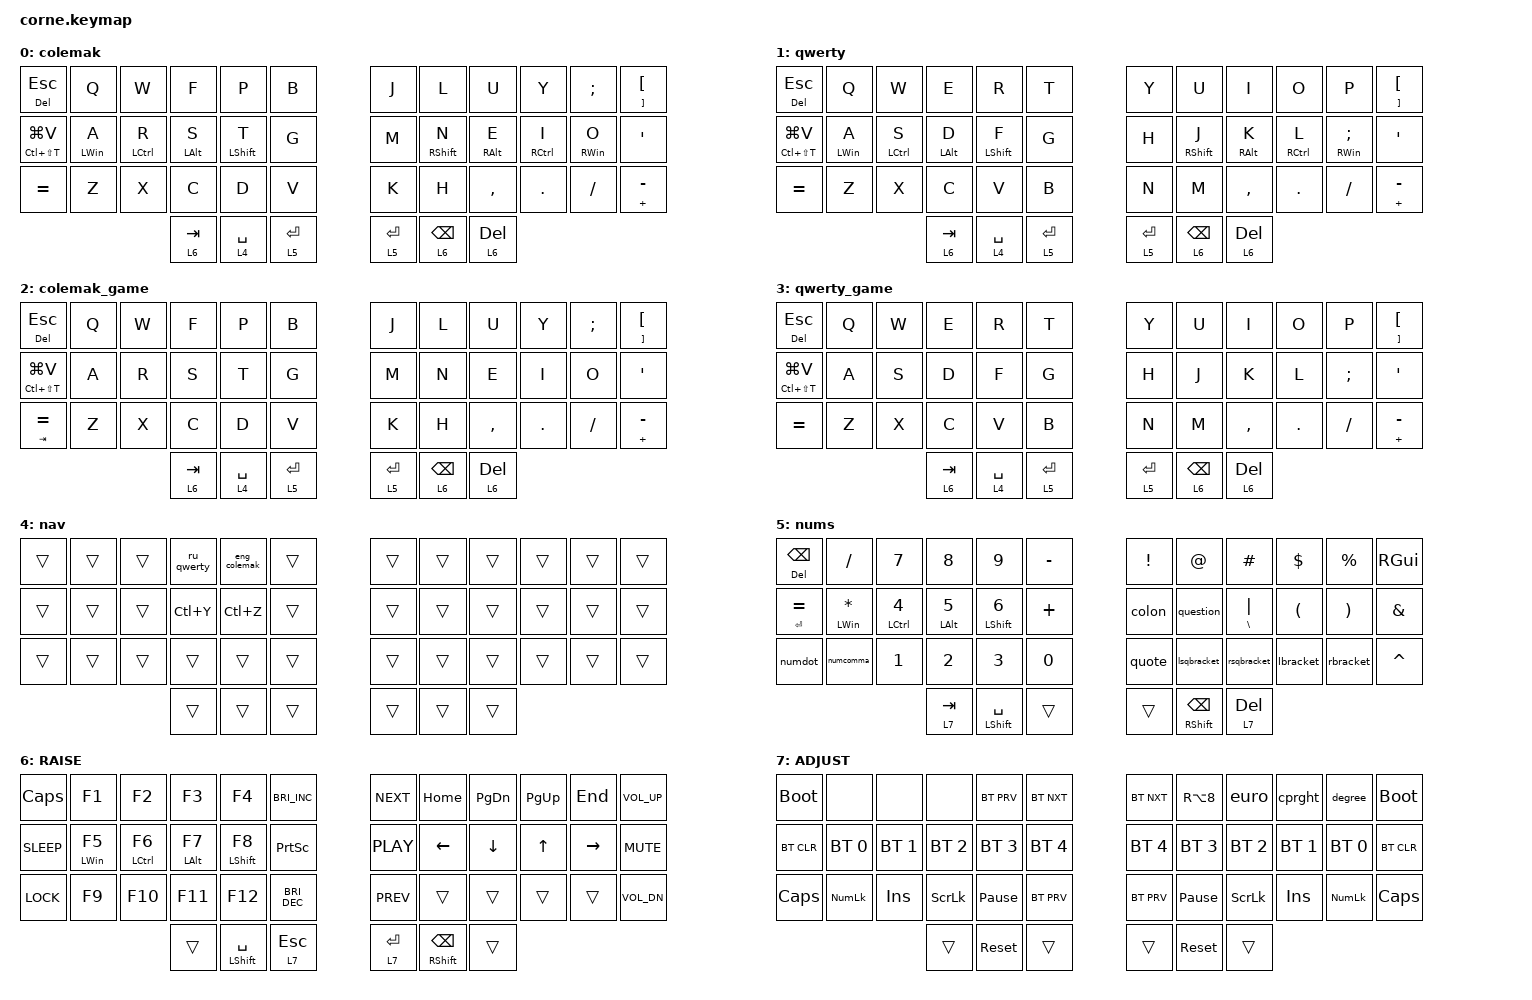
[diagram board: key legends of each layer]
/*
 * Copyright (c) 2020 The ZMK Contributors
 *
 * SPDX-License-Identifier: MIT
 */

#include <behaviors.dtsi>
#include <dt-bindings/zmk/bt.h>
#include <dt-bindings/zmk/keys.h>

#define BASE   0
#define LOWER  1
#define RAISE  2
#define ADJUST 3

&lt { quick_tap_ms = <220>; };

&mt { quick_tap_ms = <220>; };

/ {
    macros {
        numdot: numdot {
            label = "ZM_numdot";
            compatible = "zmk,behavior-macro";
            #binding-cells = <0>;
            wait-ms = <40>;
            tap-ms = <40>;
            bindings =
                <&macro_press>,
                <&kp LALT>,
                <&macro_tap>,
                <&kp KP_N4 &kp KP_N6>,
                <&macro_release>,
                <&kp LALT>;
        };

        grtsgn: grtsgn {
            label = "ZM_grtsgn";
            compatible = "zmk,behavior-macro";
            #binding-cells = <0>;
            wait-ms = <40>;
            tap-ms = <40>;
            bindings =
                <&macro_press>,
                <&kp LALT>,
                <&macro_tap>,
                <&kp KP_N6 &kp KP_N2>,
                <&macro_release>,
                <&kp LALT>;
        };

        cprght: cprght {
            label = "ZM_cprght";
            compatible = "zmk,behavior-macro";
            #binding-cells = <0>;
            wait-ms = <40>;
            tap-ms = <40>;
            bindings =
                <&macro_press>,
                <&kp LALT>,
                <&macro_tap>,
                <&kp KP_N0 &kp KP_N1 &kp KP_N6 &kp KP_N9>,
                <&macro_release>,
                <&kp LALT>;
        };

        degree: degree {
            label = "ZM_degree";
            compatible = "zmk,behavior-macro";
            #binding-cells = <0>;
            wait-ms = <40>;
            tap-ms = <40>;
            bindings =
                <&macro_press>,
                <&kp LALT>,
                <&macro_tap>,
                <&kp KP_N0 &kp KP_N1 &kp KP_N7 &kp KP_N6>,
                <&macro_release>,
                <&kp LALT>;
        };

        quote: quote {
            label = "ZM_quote";
            compatible = "zmk,behavior-macro";
            #binding-cells = <0>;
            wait-ms = <40>;
            tap-ms = <40>;
            bindings =
                <&macro_press>,
                <&kp LALT>,
                <&macro_tap>,
                <&kp KP_N3 &kp KP_N4>,
                <&macro_release>,
                <&kp LALT>;
        };

        euro: euro {
            label = "ZM_euro";
            compatible = "zmk,behavior-macro";
            #binding-cells = <0>;
            wait-ms = <40>;
            tap-ms = <40>;
            bindings =
                <&macro_press>,
                <&kp LALT>,
                <&macro_tap>,
                <&kp KP_N0 &kp KP_N1 &kp KP_N2 &kp KP_N8>,
                <&macro_release>,
                <&kp LALT>;
        };

        numcomma: numcomma {
            label = "ZM_numcomma";
            compatible = "zmk,behavior-macro";
            #binding-cells = <0>;
            wait-ms = <40>;
            tap-ms = <40>;
            bindings =
                <&macro_press>,
                <&kp LALT>,
                <&macro_tap>,
                <&kp KP_N4 &kp KP_N4>,
                <&macro_release>,
                <&kp LALT>;
        };

        lguillement: lguillement {
            label = "ZM_lguillement";
            compatible = "zmk,behavior-macro";
            #binding-cells = <0>;
            wait-ms = <40>;
            tap-ms = <40>;
            bindings =
                <&macro_press>,
                <&kp LALT>,
                <&macro_tap>,
                <&kp KP_N0 &kp KP_N1 &kp KP_N7 &kp KP_N1>,
                <&macro_release>,
                <&kp LALT>;
        };

        rguillement: rguillement {
            label = "ZM_rguillement";
            compatible = "zmk,behavior-macro";
            #binding-cells = <0>;
            wait-ms = <40>;
            tap-ms = <40>;
            bindings =
                <&macro_press>,
                <&kp LALT>,
                <&macro_tap>,
                <&kp KP_N0 &kp KP_N1 &kp KP_N8 &kp KP_N7>,
                <&macro_release>,
                <&kp LALT>;
        };

        lbracket: lbracket {
            label = "ZM_lbracket";
            compatible = "zmk,behavior-macro";
            #binding-cells = <0>;
            wait-ms = <40>;
            tap-ms = <40>;
            bindings =
                <&macro_press>,
                <&kp LALT>,
                <&macro_tap>,
                <&kp KP_N1 &kp KP_N2 &kp KP_N3>,
                <&macro_release>,
                <&kp LALT>;
        };

        rbracket: rbracket {
            label = "ZM_rbracket";
            compatible = "zmk,behavior-macro";
            #binding-cells = <0>;
            wait-ms = <40>;
            tap-ms = <40>;
            bindings =
                <&macro_press>,
                <&kp LALT>,
                <&macro_tap>,
                <&kp KP_N1 &kp KP_N2 &kp KP_N5>,
                <&macro_release>,
                <&kp LALT>;
        };

        colon: colon {
            label = "ZM_colon";
            compatible = "zmk,behavior-macro";
            #binding-cells = <0>;
            wait-ms = <40>;
            tap-ms = <40>;
            bindings =
                <&macro_press>,
                <&kp LALT>,
                <&macro_tap>,
                <&kp KP_N5 &kp KP_N8>,
                <&macro_release>,
                <&kp LALT>;
        };

        semicolon: semicolon {
            label = "ZM_semicolon";
            compatible = "zmk,behavior-macro";
            #binding-cells = <0>;
            wait-ms = <40>;
            tap-ms = <40>;
            bindings =
                <&macro_press>,
                <&kp LALT>,
                <&macro_tap>,
                <&kp KP_N5 &kp KP_N9>,
                <&macro_release>,
                <&kp LALT>;
        };

        question: question {
            label = "ZM_question";
            compatible = "zmk,behavior-macro";
            #binding-cells = <0>;
            wait-ms = <40>;
            tap-ms = <40>;
            bindings =
                <&macro_press>,
                <&kp LALT>,
                <&macro_tap>,
                <&kp KP_N6 &kp KP_N3>,
                <&macro_release>,
                <&kp LALT>;
        };

        lsqbracket: lsqbracket {
            label = "ZM_lsqbracket";
            compatible = "zmk,behavior-macro";
            #binding-cells = <0>;
            wait-ms = <40>;
            tap-ms = <40>;
            bindings =
                <&macro_press>,
                <&kp LALT>,
                <&macro_tap>,
                <&kp KP_N9 &kp KP_N1>,
                <&macro_release>,
                <&kp LALT>;
        };

        rsqbracket: rsqbracket {
            label = "ZM_rsqbracket";
            compatible = "zmk,behavior-macro";
            #binding-cells = <0>;
            wait-ms = <40>;
            tap-ms = <40>;
            bindings =
                <&macro_press>,
                <&kp LALT>,
                <&macro_tap>,
                <&kp KP_N9 &kp KP_N3>,
                <&macro_release>,
                <&kp LALT>;
        };

        eng_colemak: eng_colemak {
            compatible = "zmk,behavior-macro";
            #binding-cells = <0>;
            bindings =
                <&macro_press>,
                <&kp LEFT_ALT &kp LEFT_SHIFT>,
                <&macro_tap>,
                <&kp N0 &to 0>,
                <&macro_release>,
                <&kp LEFT_ALT &kp LSHIFT>;

            label = "ENG_COLEMAK";
        };

        ru_qwerty: ru_qwerty {
            compatible = "zmk,behavior-macro";
            #binding-cells = <0>;
            bindings =
                <&macro_press>,
                <&kp LEFT_ALT &kp LEFT_SHIFT>,
                <&macro_tap>,
                <&kp NUMBER_1 &to 1>,
                <&macro_release>,
                <&kp LEFT_ALT &kp LSHIFT>;

            label = "RU_QWERTY";
        };
    };
};

/ {
    combos {
        compatible = "zmk,combos";

        combo_grave {
            timeout-ms = <50>;
            key-positions = <4 5>;
            bindings = <&kp GRAVE>;
        };

        combo_esc_right {
            timeout-ms = <50>;
            key-positions = <19 31>;
            bindings = <&kp ESC>;
        };

        combo_comma {
            timeout-ms = <50>;
            key-positions = <15 14>;
            bindings = <&numcomma>;
        };

        combo_dot {
            timeout-ms = <50>;
            key-positions = <20 21>;
            bindings = <&numdot>;
        };

        combo_esc_left {
            timeout-ms = <50>;
            key-positions = <16 28>;
            bindings = <&kp ESC>;
        };

        combo_del {
            timeout-ms = <50>;
            key-positions = <16 17>;
            bindings = <&kp DEL>;
        };

        combo_colon {
            timeout-ms = <50>;
            key-positions = <20 19>;
            bindings = <&colon>;
        };

        combo_semicolon {
            timeout-ms = <50>;
            key-positions = <31 32>;
            bindings = <&semicolon>;
        };

        combo_numcomma {
            timeout-ms = <50>;
            key-positions = <32 33>;
            bindings = <&numcomma>;
        };

        combo_copy {
            timeout-ms = <50>;
            key-positions = <27 28>;
            bindings = <&kp LC(C)>;
        };

        combo_cut {
            timeout-ms = <50>;
            key-positions = <3 4>;
            bindings = <&kp LC(X)>;
        };

        combo_paste {
            timeout-ms = <50>;
            key-positions = <15 16>;
            bindings = <&kp LC(V)>;
        };

        to_colemak_game {
            bindings = <&to 2>;
            key-positions = <12 23>;
        };

        to_qwerty_game {
            bindings = <&to 3>;
            key-positions = <24 35>;
        };

        to_colemak {
            bindings = <&to 0>;
            key-positions = <0 11>;
        };
    };
};

/ {
    behaviors {
        hml: hml {
            compatible = "zmk,behavior-hold-tap";
            label = "HML";
            bindings = <&kp>, <&kp>;

            #binding-cells = <2>;
            tapping-term-ms = <200>;
            quick-tap-ms = <150>;
            flavor = "balanced";
            hold-trigger-key-positions = <36 37 38 6 7 8 9 10 11 18 19 20 21 22 23 30 31 32 33 34 35 39 40 41>;
            hold-trigger-on-release;
        };

        hmr: hmr {
            compatible = "zmk,behavior-hold-tap";
            label = "HMR";
            bindings = <&kp>, <&kp>;

            #binding-cells = <2>;
            tapping-term-ms = <200>;
            quick-tap-ms = <150>;
            flavor = "balanced";
            hold-trigger-on-release;
            hold-trigger-key-positions = <0 0 1 2 3 4 5 12 13 14 15 16 17 24 25 26 27 28 29 36 37 38 39 40 41>;
        };
    };

    keymap {
        compatible = "zmk,keymap";

        // ▄▄▄▄▄▄▄▄▄▄▄▄▄▄▄▄▄▄▄▄▄▄▄▄▄▄▄▄▄▄▄▄▄▄▄▄▄▄▄▄▄▄▄▄▄▄▄▄▄▄▄▄▄▄▄▄▄▄▄▄▄▄▄▄▄▄▄▄▄▄▄▄▄▄▄▄▄▄▄▄▄▄▄▄▄▄▄▄▄▄▄▄▄▄▄▄▄▄▄▄▄▄▄▄▄▄▄▄▄▄▄▄▄▄

        colemak {
            // ┌────────────────────────────────────────────┐

            label = "colemak";

            // └────────────────────────────────────────────┘
            /*
┌───────┬───────┬───────┬───────┬───────┬───────┐                   ┌───────┬───────┬───────┬───────┬───────┬───────┐
│ LGUI/]│   Q   │   W   │   E   │   R   │   T   │                   │   Y   │   U   │   I   │   O   │   P   │RGUI/[ │
├───────┼───────┼───────┼───────┼───────┼───────┤                   ├───────┼───────┼───────┼───────┼───────┼───────┤                      
│ CTRL/`│   A   │   S   │   D   │   F   │   G   │                   │   H   │   J   │   K   │   L   │   ;   │RCTRL/'│
├───────┼───────┼───────┼───────┼───────┼───────┤                   ├───────┼───────┼───────┼───────┼───────┼───────┤
│ LALT/\│   Z   │   X   │   C   │   V   │   B   │                   │   N   │   M   │   ,   │   .   │   /   │RALT/- │
└───────┴───────┴───────┴───────┼───────┼───────┼───────┐   ┌───────┼───────┼───────┼───────┴───────┴───────┴───────┘
                                │ RAISE │ SPACE │ LOWER │   │ LOWER │  BKSP │ RAISE │
                                └───────┴───────┴───────┘   └───────┴───────┴───────┘   
*/

            bindings = <
&mt DELETE ESCAPE    &kp Q            &kp W                &kp F            &kp P              &kp B        &kp J      &kp L               &kp U             &kp Y                 &kp SEMI          &mt RIGHT_BRACKET LEFT_BRACKET
&mt LC(LS(T)) LG(V)  &hml LEFT_WIN A  &hml LEFT_CONTROL R  &hml LEFT_ALT S  &hml LEFT_SHIFT T  &kp G        &kp M      &hmr RIGHT_SHIFT N  &hmr RIGHT_ALT E  &hmr RIGHT_CONTROL I  &hmr RIGHT_WIN O  &kp SQT
&kp EQUAL            &kp Z            &kp X                &kp C            &kp D              &kp V        &kp K      &kp H               &kp COMMA         &kp DOT               &kp FSLH          &mt PLUS MINUS
                                                           &lt 6 TAB        &lt 4 SPACE        &lt 5 RET    &lt 5 RET  &lt 6 BACKSPACE     &lt 6 DEL
            >;
        };

        qwerty {
            label = "qwerty";
            bindings = <
&mt DELETE ESCAPE    &kp Q            &kp W                &kp E            &kp R              &kp T        &kp Y      &kp U               &kp I             &kp O                 &kp P                     &mt RIGHT_BRACKET LEFT_BRACKET
&mt LC(LS(T)) LG(V)  &hml LEFT_WIN A  &hml LEFT_CONTROL S  &hml LEFT_ALT D  &hml LEFT_SHIFT F  &kp G        &kp H      &hmr RIGHT_SHIFT J  &hmr RIGHT_ALT K  &hmr RIGHT_CONTROL L  &hmr RIGHT_WIN SEMICOLON  &kp SQT
&kp EQUAL            &kp Z            &kp X                &kp C            &kp V              &kp B        &kp N      &kp M               &kp COMMA         &kp DOT               &kp FSLH                  &mt PLUS MINUS
                                                           &lt 6 TAB        &lt 4 SPACE        &lt 5 RET    &lt 5 RET  &lt 6 BACKSPACE     &lt 6 DEL
            >;
        };

        colemak_game {
            label = "colemak_game";
            bindings = <
&mt DELETE ESCAPE    &kp Q  &kp W  &kp F      &kp P        &kp B        &kp J      &kp L            &kp U      &kp Y    &kp SEMI  &mt RIGHT_BRACKET LEFT_BRACKET
&mt LC(LS(T)) LG(V)  &kp A  &kp R  &kp S      &kp T        &kp G        &kp M      &kp N            &kp E      &kp I    &kp O     &kp SQT
&mt TAB EQUAL        &kp Z  &kp X  &kp C      &kp D        &kp V        &kp K      &kp H            &kp COMMA  &kp DOT  &kp FSLH  &mt PLUS MINUS
                                   &lt 6 TAB  &lt 4 SPACE  &lt 5 RET    &lt 5 RET  &lt 6 BACKSPACE  &lt 6 DEL
            >;
        };

        qwerty_game {
            label = "qwerty_game";
            bindings = <
&mt DELETE ESCAPE    &kp Q  &kp W  &kp E      &kp R        &kp T        &kp Y      &kp U            &kp I      &kp O    &kp P     &mt RIGHT_BRACKET LEFT_BRACKET
&mt LC(LS(T)) LG(V)  &kp A  &kp S  &kp D      &kp F        &kp G        &kp H      &kp J            &kp K      &kp L    &kp SEMI  &kp SQT
&kp EQUAL            &kp Z  &kp X  &kp C      &kp V        &kp B        &kp N      &kp M            &kp COMMA  &kp DOT  &kp FSLH  &mt PLUS MINUS
                                   &lt 6 TAB  &lt 4 SPACE  &lt 5 RET    &lt 5 RET  &lt 6 BACKSPACE  &lt 6 DEL
            >;
        };

        nav {
            bindings = <
&trans  &trans  &trans  &ru_qwerty  &eng_colemak  &trans    &trans  &trans  &trans  &trans  &trans  &trans
&trans  &trans  &trans  &kp LC(Y)   &kp LC(Z)     &trans    &trans  &trans  &trans  &trans  &trans  &trans
&trans  &trans  &trans  &trans      &trans        &trans    &trans  &trans  &trans  &trans  &trans  &trans
                        &trans      &trans        &trans    &trans  &trans  &trans
            >;
        };

        nums {
            // ┌────────────────────────────────────────────┐

            label = "nums";

            // └────────────────────────────────────────────┘
            /*
┌───────┬───────┬───────┬───────┬───────┬───────┐                   ┌───────┬───────┬───────┬───────┬───────┬───────┐
│ CAPS  │  F10  │  F9   │  F8   │  F7   │   ~   │                   │   !   │   @   │   #   │   $   │   %   │ RGUI  │
├───────┼───────┼───────┼───────┼───────┼───────┤                   ├───────┼───────┼───────┼───────┼───────┼───────┤                      
│ CTRL  │  F11  │  F3   │  F2   │  F1   │ MENU  │                   │   :   │   ?   │   *   │   (   │   )   │   &   │
├───────┼───────┼───────┼───────┼───────┼───────┤                   ├───────┼───────┼───────┼───────┼───────┼───────┤
│ LALT  │  F12  │  F6   │  F5   │  F4   │ LANG  │                   │   "   │   «   │   »   │   {   │   }   │   ^   │
└───────┴───────┴───────┴───────┼───────┼───────┼───────┐   ┌───────┼───────┼───────┼───────┴───────┴───────┴───────┘
                                │  ADJ  │ LSHFT │   ▼   │   │   ▼   │ RSHFT │  ADJ  │
                                └───────┴───────┴───────┘   └───────┴───────┴───────┘   
*/

            bindings = <
&mt DELETE BACKSPACE  &kp FSLH                &kp N7               &kp N8            &kp N9              &kp MINUS    &kp EXCL  &kp AT          &kp HASH            &kp DOLLAR  &kp PERCENT  &kp RGUI
&mt ENTER EQUAL       &hml LEFT_WIN ASTERISK  &hml LCTRL NUMBER_4  &hml LEFT_ALT N5  &hml LEFT_SHIFT N6  &kp PLUS     &colon    &question       &mt BACKSLASH PIPE  &kp LPAR    &kp RPAR     &kp AMPS
&numdot               &numcomma               &kp N1               &kp N2            &kp N3              &kp N0       &quote    &lsqbracket     &rsqbracket         &lbracket   &rbracket    &kp CARET
                                                                   &lt 7 TAB         &mt LSHFT SPACE     &trans       &trans    &mt RSHFT BSPC  &lt 7 DEL
            >;
        };

        raise_layer {
            // ┌────────────────────────────────────────────┐

            label = "RAISE";

            // └────────────────────────────────────────────┘
            /*
┌───────┬───────┬───────┬───────┬───────┬───────┐                   ┌───────┬───────┬───────┬───────┬───────┬───────┐
│ BKSP  │   *   │   9   │   8   │   7   │   +   │                   │ NEXT  │ HOME  │ PSCRN │ PGUP  │ VOLU  │ RGUI  │
├───────┼───────┼───────┼───────┼───────┼───────┤                   ├───────┼───────┼───────┼───────┼───────┼───────┤                      
│ CTRL  │   /   │   3   │   2   │   1   │   0   │                   │ PLAY  │   ←   │   ↑   │   →   │ VOLD  │ CTRL  │
├───────┼───────┼───────┼───────┼───────┼───────┤                   ├───────┼───────┼───────┼───────┼───────┼───────┤
│ ALT/= │   .   │   6   │   5   │   4   │   -   │                   │ PREV  │  END  │   ↓   │ PGDN  │ MUTE  │ RALT  │
└───────┴───────┴───────┴───────┼───────┼───────┼───────┐   ┌───────┼───────┼───────┼───────┴───────┴───────┴───────┘
                                │   ▲   │ LSHFT │  ADJ  │   │  ADJ  │ RSHFT │   ▲   │
                                └───────┴───────┴───────┘   └───────┴───────┴───────┘  
*/

            bindings = <
&kp CAPS     &kp F1            &kp F2                &kp F3            &kp F4              &kp C_BRIGHTNESS_INC    &kp C_NEXT  &kp HOME        &kp PAGE_DOWN  &kp PG_UP     &kp END    &kp C_VOLUME_UP
&kp K_SLEEP  &hml LEFT_WIN F5  &hml LEFT_CONTROL F6  &hml LEFT_ALT F7  &hml LEFT_SHIFT F8  &kp PSCRN               &kp C_PLAY  &kp LEFT        &kp DOWN       &kp UP_ARROW  &kp RIGHT  &kp K_MUTE
&kp K_LOCK   &kp F9            &kp F10               &kp F11           &kp F12             &kp C_BRIGHTNESS_DEC    &kp C_PREV  &trans          &trans         &trans        &trans     &kp C_VOL_DN
                                                     &trans            &mt LSHFT SPACE     &lt 7 ESC               &lt 7 RET   &mt RSHFT BSPC  &trans
            >;
        };

        adjust_layer {
            // ┌────────────────────────────────────────────┐

            label = "ADJUST";

            // └────────────────────────────────────────────┘
            /*
┌───────┬───────┬───────┬───────┬───────┬───────┐                   ┌───────┬───────┬───────┬───────┬───────┬───────┐
│ BLDR  │       │       │       │       │BT NEXT│                   │BT NEXT│   ₽   │   €   │       │       │  BLDR │
├───────┼───────┼───────┼───────┼───────┼───────┤                   ├───────┼───────┼───────┼───────┼───────┼───────┤                      
│ BTCLR │  BT0  │  BT1  │  BT2  │  BT3  │  BT4  │                   │  BT4  │  BT3  │  BT2  │  BT1  │  BT0  │ BTCLR │
├───────┼───────┼───────┼───────┼───────┼───────┤                   ├───────┼───────┼───────┼───────┼───────┼───────┤
│ CAPS  │ NUMLK │  INS  │ SLCK  │ PAUSE │BT PREV│                   │BT PREV│ PAUSE │ SLCK  │  INS  │ NUMLK │ CAPS  │
└───────┴───────┴───────┴───────┼───────┼───────┼───────┐   ┌───────┼───────┼───────┼───────┴───────┴───────┴───────┘
                                │   ▲   │ RESET │   ▼   │   │   ▼   │ RESET │   ▲   │
                                └───────┴───────┴───────┘   └───────┴───────┴───────┘
*/

            bindings = <
&bootloader  &none         &none         &none         &bt BT_PRV       &bt BT_NXT      &bt BT_NXT    &kp RA(N8)       &euro         &cprght       &degree       &bootloader
&bt BT_CLR   &bt BT_SEL 0  &bt BT_SEL 1  &bt BT_SEL 2  &bt BT_SEL 3     &bt BT_SEL 4    &bt BT_SEL 4  &bt BT_SEL 3     &bt BT_SEL 2  &bt BT_SEL 1  &bt BT_SEL 0  &bt BT_CLR
&kp CAPS     &kp KP_NUM    &kp INS       &kp SLCK      &kp PAUSE_BREAK  &bt BT_PRV      &bt BT_PRV    &kp PAUSE_BREAK  &kp SLCK      &kp INS       &kp KP_NUM    &kp CAPS
                                         &trans        &sys_reset       &trans          &trans        &sys_reset       &trans
            >;
        };
    };
};
